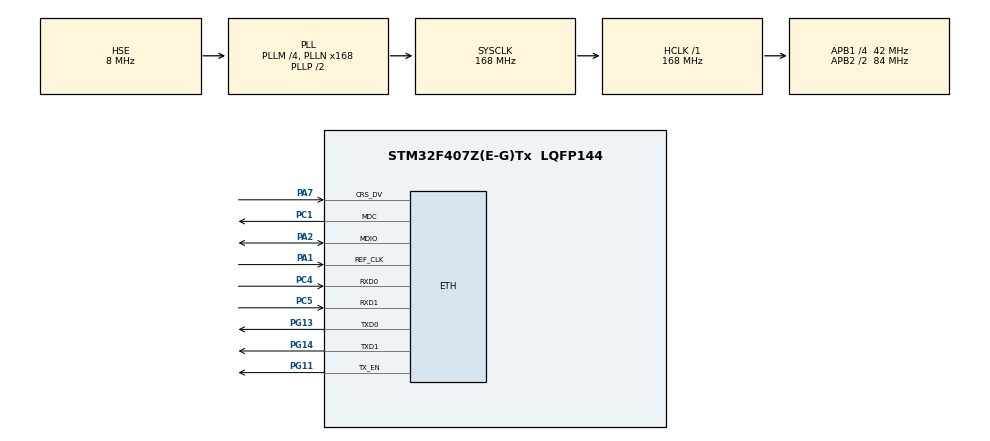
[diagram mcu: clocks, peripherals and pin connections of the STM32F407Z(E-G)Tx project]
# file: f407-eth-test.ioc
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ETH.MediaInterface=HAL_ETH_RMII_MODE
LWIP.BSP.number=1
LWIP.IP_ADDRESS=192.168.001.010
LWIP.LWIP_DHCP=0
LWIP.NETMASK_ADDRESS=255.255.255.000
LWIP.Version=v2.1.2_Cube
LWIP0.BSP.STBoard=false
LWIP0.BSP.api=BSP_COMPONENT_DRIVER
LWIP0.BSP.component=LAN8742
LWIP0.BSP.instance=LAN8742
LWIP0.BSP.name=Driver_PHY
LWIP0.BSP.semaphore=S_LAN8742
LWIP0.BSP.solution=LAN8742
Mcu.Family=STM32F4
Mcu.Name=STM32F407Z(E-G)Tx
Mcu.Package=LQFP144
NVIC.PriorityGroup=NVIC_PRIORITYGROUP_4
PA1.Mode=RMII
PA1.Signal=ETH_REF_CLK
PA13.Mode=Serial_Wire
PA13.Signal=SYS_JTMS-SWDIO
PA14.Mode=Serial_Wire
PA14.Signal=SYS_JTCK-SWCLK
PA2.Mode=RMII
PA2.Signal=ETH_MDIO
PA7.Mode=RMII
PA7.Signal=ETH_CRS_DV
PC1.Mode=RMII
PC1.Signal=ETH_MDC
PC14-OSC32_IN.Mode=LSE-External-Oscillator
PC14-OSC32_IN.Signal=RCC_OSC32_IN
PC15-OSC32_OUT.Mode=LSE-External-Oscillator
PC15-OSC32_OUT.Signal=RCC_OSC32_OUT
PC4.Mode=RMII
PC4.Signal=ETH_RXD0
PC5.Mode=RMII
PC5.Signal=ETH_RXD1
PG11.Mode=RMII
PG11.Signal=ETH_TX_EN
PG13.Mode=RMII
PG13.Signal=ETH_TXD0
PG14.Mode=RMII
PG14.Signal=ETH_TXD1
PH0-OSC_IN.Mode=HSE-External-Oscillator
PH0-OSC_IN.Signal=RCC_OSC_IN
PH1-OSC_OUT.Mode=HSE-External-Oscillator
PH1-OSC_OUT.Signal=RCC_OSC_OUT
ProjectManager.HeapSize=0x200
ProjectManager.StackSize=0x400
ProjectManager.TargetToolchain=Makefile
RCC.48MHZClocksFreq_Value=84000000
RCC.AHBFreq_Value=168000000
RCC.APB1CLKDivider=RCC_HCLK_DIV4
RCC.APB1Freq_Value=42000000
RCC.APB1TimFreq_Value=84000000
RCC.APB2CLKDivider=RCC_HCLK_DIV2
RCC.APB2Freq_Value=84000000
RCC.APB2TimFreq_Value=168000000
RCC.CortexFreq_Value=168000000
RCC.EnbaleCSS=true
RCC.HCLKFreq_Value=168000000
RCC.HSE_VALUE=8000000
RCC.HSI_VALUE=16000000
RCC.PLLM=4
RCC.PLLN=168
RCC.PLLSourceVirtual=RCC_PLLSOURCE_HSE
RCC.SYSCLKFreq_VALUE=168000000
RCC.SYSCLKSource=RCC_SYSCLKSOURCE_PLLCLK
RCC.VCOOutputFreq_Value=336000000
VP_LWIP_VS_Enabled.Mode=Enabled
board=custom

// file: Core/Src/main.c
/* USER CODE BEGIN Header */
/**
  ******************************************************************************
  * @file           : main.c
  * @brief          : Main program body
  ******************************************************************************
  * @attention
  *
  * Copyright (c) 2026 STMicroelectronics.
  * All rights reserved.
  *
  * This software is licensed under terms that can be found in the LICENSE file
  * in the root directory of this software component.
  * If no LICENSE file comes with this software, it is provided AS-IS.
  *
  ******************************************************************************
  */
/* USER CODE END Header */
#include "main.h"
#include "ecat_motion.h"
#include "usb_device.h"
#include "log_screen.h"

void SystemClock_Config(void);
static void MX_GPIO_Init(void);

int main(void)
{

  /* USER CODE BEGIN 1 */

  /* 复位原因诊断: 必须在HAL_Init()之前读, 读完立刻清掉标志位方便看下一次的.
     RCC->CSR 的 PINRSTF 位如果被置位, 就实锤是外部 NRST 引脚被拉低复位的
     (对应"一开串口板子就断"的怀疑: CH340 DTR/RTS 通过板子P4排针接到了 RESET)。 */
  g_reset_cause = RCC->CSR;
  __HAL_RCC_CLEAR_RESET_FLAGS();

  /* USER CODE END 1 */

  /* MCU Configuration--------------------------------------------------------*/

  /* Reset of all peripherals, Initializes the Flash interface and the Systick. */
  HAL_Init();

  /* Configure the system clock */
  SystemClock_Config();

  /* USER CODE BEGIN SysInit */
  /* --- LAN8720 硬件复位: 复位脚接在 PD3, 上电被10K电阻拉低=一直处于复位,
         必须由程序把 PD3 拉高才能松开复位、让网络芯片工作 --- */
  __HAL_RCC_GPIOD_CLK_ENABLE();
  {
    GPIO_InitTypeDef phy_rst = {0};
    phy_rst.Pin   = GPIO_PIN_3;
    phy_rst.Mode  = GPIO_MODE_OUTPUT_PP;
    phy_rst.Pull  = GPIO_NOPULL;
    phy_rst.Speed = GPIO_SPEED_FREQ_LOW;
    HAL_GPIO_Init(GPIOD, &phy_rst);
    HAL_GPIO_WritePin(GPIOD, GPIO_PIN_3, GPIO_PIN_RESET); /* 拉低: 进入复位 */
    HAL_Delay(20);
    HAL_GPIO_WritePin(GPIOD, GPIO_PIN_3, GPIO_PIN_SET);   /* 拉高: 松开复位 */
    HAL_Delay(100);                                       /* 等 PHY 内部就绪 */
  }

  /* --- 心跳灯诊断: LED0=PF9, 低电平点亮(战神板寄存器例程实测).
         开机立即闪一下, 证明代码执行到这里(时钟+GPIO正常);
         后续心跳由 ecat_motion.c 在EtherCAT循环里接管闪烁,
         如果这一下都没闪说明卡在SystemClock_Config/HAL_Init之前(比如HSE不起振)。--- */
  __HAL_RCC_GPIOF_CLK_ENABLE();
  {
    GPIO_InitTypeDef led = {0};
    led.Pin   = GPIO_PIN_9;
    led.Mode  = GPIO_MODE_OUTPUT_PP;
    led.Pull  = GPIO_NOPULL;
    led.Speed = GPIO_SPEED_FREQ_LOW;
    HAL_GPIO_Init(GPIOF, &led);
    HAL_GPIO_WritePin(GPIOF, GPIO_PIN_9, GPIO_PIN_RESET);  /* 点亮 */
    HAL_Delay(200);
    HAL_GPIO_WritePin(GPIOF, GPIO_PIN_9, GPIO_PIN_SET);    /* 熄灭 */
  }
  /* USER CODE END SysInit */

  /* Initialize all configured peripherals */
  MX_GPIO_Init();
  /* USER CODE BEGIN 2 */
  MX_USB_DEVICE_Init();   /* USB Slave(Micro-USB, PA11/PA12) 枚举成CDC虚拟串口 */
  log_screen_init();   /* 板载3.5寸屏点亮, 纯日志展示(不做控制/触摸) */
  ecat_motion_run();   /* 扫从站 → CSV使能 → 伸出/缩回×5, 内部死循环, 不返回 */
  /* USER CODE END 2 */

  /* Infinite loop */
  while (1)
  {

    /* USER CODE BEGIN 3 */
    /* 正常情况下 ecat_motion_run() 内部死循环, 不会执行到这里;
       一旦跑到这, 说明它提前 return 了(比如没扫到从站/网卡初始化失败),
       用快闪(100ms)跟正常心跳区分, 方便直接用灯判断"提前退出"这种情况 */
    HAL_GPIO_TogglePin(GPIOF, GPIO_PIN_9);
    HAL_Delay(100);
  }
  /* USER CODE END 3 */
}

void SystemClock_Config(void)
{
  RCC_OscInitTypeDef RCC_OscInitStruct = {0};
  RCC_ClkInitTypeDef RCC_ClkInitStruct = {0};

  /** Configure the main internal regulator output voltage
  */
  __HAL_RCC_PWR_CLK_ENABLE();
  __HAL_PWR_VOLTAGESCALING_CONFIG(PWR_REGULATOR_VOLTAGE_SCALE1);

  /** Initializes the RCC Oscillators according to the specified parameters
  * in the RCC_OscInitTypeDef structure.
  */
  RCC_OscInitStruct.OscillatorType = RCC_OSCILLATORTYPE_HSE;
  RCC_OscInitStruct.HSEState = RCC_HSE_ON;
  RCC_OscInitStruct.PLL.PLLState = RCC_PLL_ON;
  RCC_OscInitStruct.PLL.PLLSource = RCC_PLLSOURCE_HSE;
  RCC_OscInitStruct.PLL.PLLM = 4;
  RCC_OscInitStruct.PLL.PLLN = 168;
  RCC_OscInitStruct.PLL.PLLP = RCC_PLLP_DIV2;
  /* PLLQ=7: VCO(336MHz)/7=48MHz, USB OTG FS要求这里必须精确等于48MHz才能工作;
     原来的4会得到84MHz, USB完全不能用。PLLQ不影响SYSCLK(由PLLP决定), 改这里
     对EtherCAT的168MHz主频没有任何影响。 */
  RCC_OscInitStruct.PLL.PLLQ = 7;
  if (HAL_RCC_OscConfig(&RCC_OscInitStruct) != HAL_OK)
  {
    Error_Handler();
  }

  /** Initializes the CPU, AHB and APB buses clocks
  */
  RCC_ClkInitStruct.ClockType = RCC_CLOCKTYPE_HCLK|RCC_CLOCKTYPE_SYSCLK
                              |RCC_CLOCKTYPE_PCLK1|RCC_CLOCKTYPE_PCLK2;
  RCC_ClkInitStruct.SYSCLKSource = RCC_SYSCLKSOURCE_PLLCLK;
  RCC_ClkInitStruct.AHBCLKDivider = RCC_SYSCLK_DIV1;
  RCC_ClkInitStruct.APB1CLKDivider = RCC_HCLK_DIV4;
  RCC_ClkInitStruct.APB2CLKDivider = RCC_HCLK_DIV2;

  if (HAL_RCC_ClockConfig(&RCC_ClkInitStruct, FLASH_LATENCY_5) != HAL_OK)
  {
    Error_Handler();
  }

  /** Enables the Clock Security System
  */
  HAL_RCC_EnableCSS();
}

static void MX_GPIO_Init(void)
{

  /* GPIO Ports Clock Enable */
  __HAL_RCC_GPIOC_CLK_ENABLE();
  __HAL_RCC_GPIOH_CLK_ENABLE();
  __HAL_RCC_GPIOA_CLK_ENABLE();
  __HAL_RCC_GPIOG_CLK_ENABLE();

}

void Error_Handler(void)
{
  __disable_irq();
  while (1)
  {
  }
}
